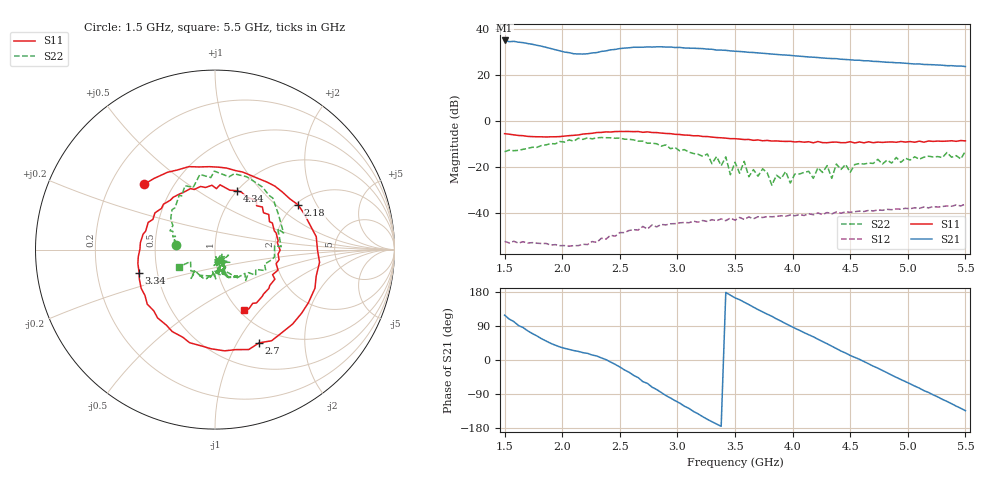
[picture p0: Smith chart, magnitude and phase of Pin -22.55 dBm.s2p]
! RsaToolbox (C) 2015 Rohde & Schwarz America
! Number of points: 101
! Number of ports: 2
! Balanced ports?: No
# Hz S RI R 50
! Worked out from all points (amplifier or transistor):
!   101 points, 1.5 GHz to 5.5 GHz, reference 50 ohm
!   highest |S21| = 35.2 dB at 1.5 GHz (marker M1)
!   |S21| within 3 dB of that: start of sweep to 1.861 GHz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
!   unconditionally stable (mu >= 1): start of sweep to end of sweep
!   at 2.14 GHz: K = 5.53, MAG = 31.3 dB, |S12| = -54.1 dB
!   at 3.5 GHz: K = 1.91, MAG = 31.3 dB, |S12| = -43.1 dB
!   at 5.5 GHz: K = 1.73, MAG = 25.0 dB, |S12| = -36.0 dB
!   S11 on the Smith chart (normalised r, x): 1.5 GHz: 0.34, +0.35; 2.18 GHz: 2.07, +1.42; 2.7 GHz: 0.80, -1.24; 3.34 GHz: 0.39, -0.13; 4.34 GHz: 1.00, +0.75; 5.5 GHz: 1.05, -0.82
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1.5e9  -0.3947 0.363  -27.2 50.34  0.0016 -0.00184  -0.216 0.0278
1.66e9  -0.1458 0.4622  3.86 51.18  0.000708 -0.00229  -0.2347 0.0708
1.82e9  0.0639 0.4544  23.9 35.71  -0.000136 -0.00218  -0.2456 0.165
1.98e9  0.2431 0.395  28.03 19.25  -0.000557 -0.00189  -0.1992 0.3031
2.18e9  0.4639 0.2487  27.37 9.647  -0.000539 -0.00204  -0.0231 0.4015
2.38e9  0.5826 -0.0708  33.97 0.5654  -0.000891 -0.00257  0.2091 0.3853
2.5e9  0.5204 -0.296  36.16 -12  -0.00231 -0.003  0.3223 0.287
2.62e9  0.3818 -0.4553  30.9 -26.54  -0.00328 -0.0029  0.382 0.0925
2.7e9  0.2455 -0.5196  22.19 -34.27  -0.00444 -0.00261  0.3685 0.0165
2.86e9  -0.0221 -0.5525  3.022 -41.55  -0.00561 -0.000954  0.2762 -0.0813
3.02e9  -0.2384 -0.4566  -16.21 -36.97  -0.00594 0.00163  0.1868 -0.1283
3.14e9  -0.341 -0.3411  -27.81 -27.04  -0.00597 0.00304  0.1149 -0.1618
3.34e9  -0.4224 -0.1305  -34.77 -6.777  -0.00382 0.00568  0.075 -0.1531
3.5e9  -0.416 0.0378  -32.02 9.157  -0.002 0.00673  0.019 -0.1273
3.7e9  -0.3347 0.2047  -20.91 22.42  0.00109 0.00831  0.0222 -0.0599
3.86e9  -0.2327 0.2917  -9.001 26.98  0.00387 0.00757  0.0163 -0.0649
4.18e9  0.00777 0.3395  11.87 21.69  0.00826 0.00414  -0.000665 -0.0573
4.34e9  0.1236 0.328  18.6 13.72  0.0095 0.00153  0.0223 -0.0527
4.58e9  0.2639 0.2374  21.23 0.6761  0.0106 -0.00334  0.0575 -0.1056
4.86e9  0.3518 0.0492  14.65 -12.23  0.00718 -0.00951  -0.0135 -0.1222
5.18e9  0.3338 -0.1646  1.316 -17.04  0.00043 -0.013  -0.063 -0.1617
5.5e9  0.1607 -0.3373  -10.72 -11.21  -0.00913 -0.0129  -0.2014 -0.0965
